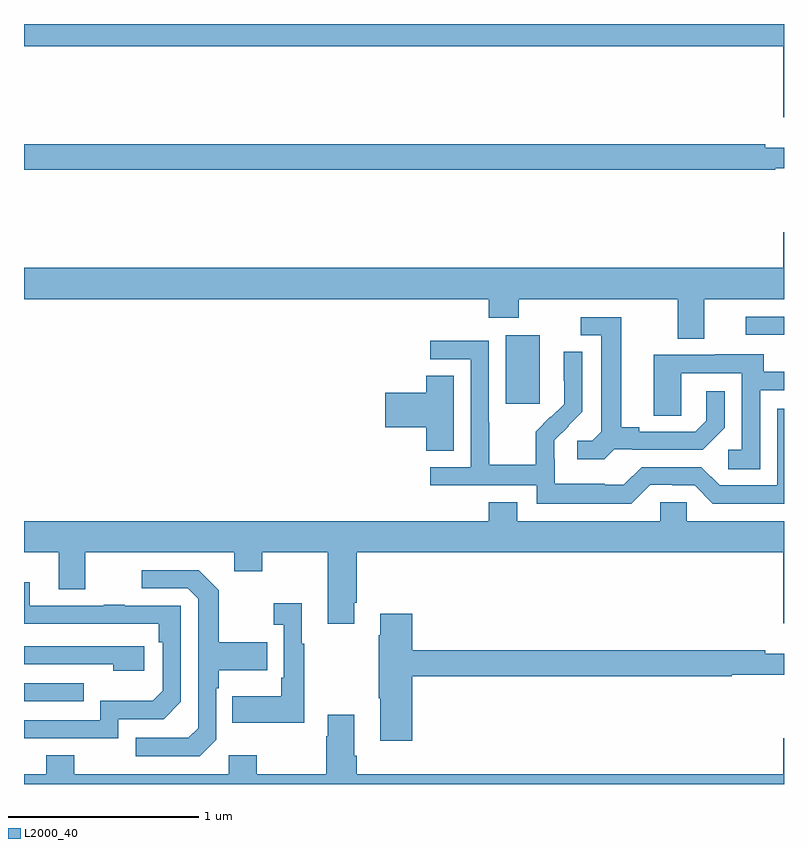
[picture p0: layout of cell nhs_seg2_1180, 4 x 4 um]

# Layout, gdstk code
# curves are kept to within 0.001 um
import gdstk
lib = gdstk.Library(unit=1e-6, precision=1e-09)
def R(c, l, rs):  # rectangles x0, y0, x1, y1
    for r in rs: c.add(gdstk.rectangle(r[:2], r[2:], *l))
def P(c, l, *ps):  # polygons
    for p in ps: c.add(gdstk.Polygon(p, *l))
L2000_40 = (2000, 40)

nhs_seg2_1180 = lib.new_cell('nhs_seg2_1180')
R(nhs_seg2_1180, L2000_40, [(173,596.235,173.315,596.331), (175.535,597.801,175.714,598.162), (176.799,598.164,177,598.26)])
P(nhs_seg2_1180, L2000_40, [(177,599.8),(173,599.8),(173,599.684),(176.996,599.684),(176.996,599.31),(177,599.31)],
  [(176.954,599.04),(177,599.04),(177,599.149),(176.9,599.149),(176.9,599.168),(173,599.168),(173,599.032),(176.954,599.032)],
  [(176.581,598.352),(177,598.352),(177,598.705),(176.996,598.705),(176.996,598.516),(173,598.516),(173,598.352),(175.445,598.352),(175.445,598.253),(175.605,598.253),(175.605,598.352),(176.441,598.352),(176.441,598.144),(176.581,598.144)],
  [(176.106,597.561),(176.2,597.561),(176.2,597.558),(176.572,597.558),(176.688,597.674),(176.688,597.868),(176.591,597.868),(176.591,597.711),(176.534,597.654),(176.239,597.654),(176.239,597.677),(176.143,597.677),(176.143,598.257),(175.929,598.257),(175.929,598.161),(176.039,598.161),(176.039,597.653),(175.992,597.606),(175.911,597.606),(175.911,597.509),(176.054,597.509)],
  [(176.295,597.375),(176.411,597.375),(176.411,597.372),(176.529,597.372),(176.625,597.276),(177,597.276),(177,597.774),(176.964,597.774),(176.964,597.372),(176.661,597.372),(176.565,597.468),(176.25,597.468),(176.157,597.375),(176.057,597.375),(176.057,597.379),(175.794,597.379),(175.794,597.513),(175.792,597.513),(175.792,597.61),(175.938,597.758),(175.938,598.076),(175.842,598.076),(175.842,597.922),(175.844,597.922),(175.844,597.8),(175.773,597.729),(175.77,597.732),(175.693,597.655),(175.693,597.481),(175.449,597.481),(175.449,597.704),(175.446,597.704),(175.446,598.134),(175.137,598.134),(175.137,598.035),(175.35,598.035),(175.35,597.468),(175.137,597.468),(175.137,597.372),(175.698,597.372),(175.698,597.275),(176.195,597.275)],
  [(176.874,597.873),(177,597.873),(177,597.969),(176.893,597.969),(176.893,598.063),(176.639,598.063),(176.639,598.059),(176.315,598.059),(176.315,597.739),(176.46,597.739),(176.46,597.963),(176.778,597.963),(176.778,597.558),(176.706,597.558),(176.706,597.457),(176.874,597.457)],
  [(175.261,597.95),(175.118,597.95),(175.118,597.86),(174.9,597.86),(174.9,597.677),(175.118,597.677),(175.118,597.553),(175.261,597.553)],
  [(174.739,596.755),(174.752,596.755),(174.752,597.02),(176.996,597.02),(176.996,596.646),(177,596.646),(177,597.184),(176.487,597.184),(176.487,597.282),(176.349,597.282),(176.349,597.184),(175.597,597.184),(175.597,597.283),(175.445,597.283),(175.445,597.184),(173,597.184),(173,597.02),(173.183,597.02),(173.183,596.826),(173.323,596.826),(173.323,597.02),(174.107,597.02),(174.107,596.921),(174.255,596.921),(174.255,597.02),(174.599,597.02),(174.599,596.643),(174.739,596.643)],
  [(174.012,596.034),(174.012,596.303),(174.025,596.303),(174.025,596.399),(174.281,596.399),(174.281,596.547),(174.025,596.547),(174.025,596.819),(173.919,596.925),(173.619,596.925),(173.619,596.829),(173.862,596.829),(173.916,596.775),(173.916,596.094),(173.865,596.043),(173.589,596.043),(173.589,595.947),(173.925,595.947)],
  [(173.496,596.142),(173.736,596.142),(173.826,596.232),(173.826,596.739),(173.531,596.739),(173.531,596.744),(173.419,596.744),(173.419,596.739),(173.029,596.739),(173.029,596.863),(173,596.863),(173,596.644),(173.71,596.643),(173.71,596.546),(173.73,596.546),(173.73,596.292),(173.677,596.239),(173.4,596.239),(173.4,596.136),(173,596.136),(173,596.04),(173.496,596.04)],
  [(174.475,596.539),(174.463,596.539),(174.463,596.752),(174.315,596.752),(174.315,596.639),(174.366,596.639),(174.366,596.359),(174.354,596.359),(174.354,596.263),(174.097,596.263),(174.097,596.123),(174.475,596.123)],
  [(175.043,596.368),(176.726,596.368),(176.726,596.376),(177,596.376),(177,596.485),(176.9,596.485),(176.9,596.504),(175.043,596.504),(175.043,596.695),(174.875,596.695),(174.875,596.582),(174.868,596.582),(174.868,596.251),(174.875,596.251),(174.875,596.028),(175.043,596.028)],
  [(173.632,596.526),(173,596.526),(173,596.43),(173.471,596.43),(173.471,596.396),(173.632,596.396)],
  [(177,596.041),(176.996,596.041),(176.996,595.852),(174.752,595.852),(174.752,595.948),(174.739,595.948),(174.739,596.164),(174.599,596.164),(174.599,596.051),(174.592,596.051),(174.592,595.852),(174.225,595.852),(174.225,595.951),(174.078,595.951),(174.078,595.852),(173.265,595.852),(173.265,595.951),(173.117,595.951),(173.117,595.852),(173,595.852),(173,595.8),(177,595.8)])

lib.write_gds('nhs_seg2_1180.gds')
